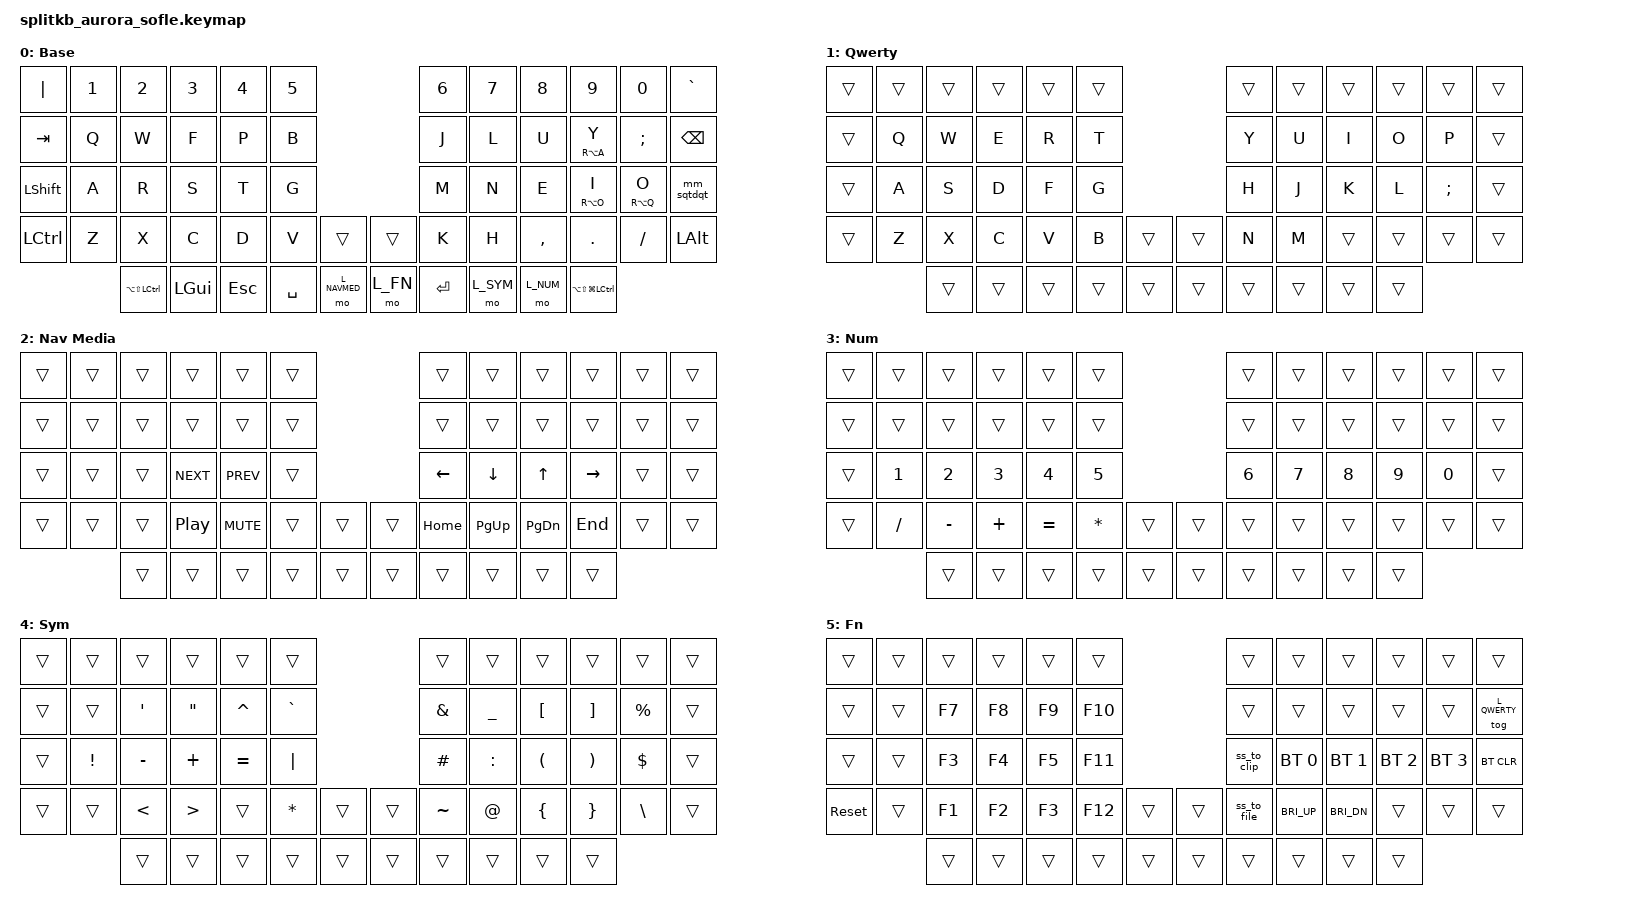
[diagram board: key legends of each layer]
// vim: ft=c
/*
 * Copyright (c) 2023 The ZMK Contributors
 *
 * SPDX-License-Identifier: MIT
 */

#include <behaviors.dtsi>
#include <dt-bindings/zmk/keys.h>
#include <dt-bindings/zmk/bt.h>
#include <dt-bindings/zmk/ext_power.h>

// define layer names
#define L_BASE 0
#define L_QWERTY 1
#define L_NAVMED 2
#define L_NUM 3
#define L_SYM 4
#define L_FN 5

// key aliases
#define ___ &trans            // transparent, inherit key from lower layer
#define MEH LA(LS(LCTRL))     // meh modifier combo: ctrl+alt+shift
#define HYP LA(LS(LG(LCTRL))) // hyper modifier combo: ctrl+alt+command+shift

/*                                             60 KEY MATRIX / LAYOUT MAPPING

  ╭────────────────────────────┬────────────────────────────╮ ╭─────────────────────────────┬─────────────────────────────╮
  │  0   1   2   3   4   5     │      6   7   8   9  10  11 │ │ LN5 LN4 LN3 LN2 LN1 LN0     │     RN0 RN1 RN2 RN3 RN4 RN5 │
  │ 12  13  14  15  16  17     │     18  19  20  21  22  23 │ │ LT5 LT4 LT3 LT2 LT1 LT0     │     RT0 RT1 RT2 RT3 RT4 RT5 │
  │ 24  25  26  27  28  29     │     30  31  32  33  34  35 │ │ LM5 LM4 LM3 LM2 LM1 LM0     │     RM0 RM1 RM2 RM3 RM4 RM5 │
  │ 36  37  38  39  40  41  42 │ 43  44  45  46  47  48  49 │ │ LB5 LB4 LB3 LB2 LB1 LB0 LEC │ REC RB0 RB1 RB2 RB3 RB4 RB5 │
  ╰───────╮ 50  51  52  53  54 │ 55  56  57  58  59 ╭───────╯ ╰───────╮ LH4 LH3 LH2 LH1 LH0 │ RH0 RH1 RH2 RH3 RH4 ╭───────╯
          ╰────────────────────┴────────────────────╯                 ╰─────────────────────┴─────────────────────╯
*/

/ {
  macros {
    ss_to_file: selection_screenshot_to_file {
      compatible = "zmk,behavior-macro";
      label = "capture screenshot to file";
      #binding-cells = <0>;
      bindings =
        <&macro_press &kp LGUI &kp LSHIFT>,
        <&macro_tap &kp N4>,
        <&macro_release &kp LGUI &kp LSHIFT>;
    };
    ss_to_clip: selection_screenshot_to_clipboard {
      compatible = "zmk,behavior-macro";
      label = "capture screenshot to clipboard";
      #binding-cells = <0>;
      bindings =
        <&macro_press &kp LGUI &kp LCTRL &kp LSHIFT>,
        <&macro_tap &kp N4>,
        <&macro_release &kp LGUI &kp LCTRL &kp LSHIFT>;
    };
  };

  behaviors {
    mm_sqtdqt: dot_colin_mod_morph {
      compatible = "zmk,behavior-mod-morph";
      label = "double quote, single quote when shifted";
      #binding-cells = <0>;
      bindings = <&kp DQT>, <&kp SQT>;
      mods = <(MOD_LSFT|MOD_RSFT)>;
    };

    gqt: global-quick-tap {
      compatible = "zmk,behavior-hold-tap";
      label = "global quick tap";
      #binding-cells = <2>;
      flavor = "tap-preferred";
      tapping-term-ms = <200>;
      quick-tap-ms = <125>;
      global-quick-tap;
      bindings = <&kp>, <&kp>;
    };
  };

  keymap {
    compatible = "zmk,keymap";

    base_layer {
      label = "Base";
      bindings = <
        //╭─────────────┬─────────────┬─────────────┬─────────────┬─────────────┬─────────────╮                                 ╭─────────────┬─────────────┬─────────────┬─────────────┬─────────────┬─────────────╮
            &kp PIPE      &kp N1        &kp N2        &kp N3        &kp N4        &kp N5                                          &kp N6        &kp N7        &kp N8        &kp N9        &kp N0        &kp GRAVE
        //├─────────────┼─────────────┼─────────────┼─────────────┼─────────────┤─────────────┤                                 ├─────────────┼─────────────┼─────────────┼─────────────┤─────────────┼─────────────┤
            &kp TAB       &kp Q         &kp W         &kp F         &kp P         &kp B                                           &kp J         &kp L         &kp U         &gqt RA(A) Y  &kp SEMI      &kp BSPC
        //├─────────────┼─────────────┼─────────────┼─────────────┼─────────────┤─────────────┤                                 ├─────────────┼─────────────┼─────────────┼─────────────┤─────────────┼─────────────┤
            &kp LSHIFT    &kp A         &kp R         &kp S         &kp T         &kp G                                           &kp M         &kp N         &kp E         &gqt RA(O) I  &gqt RA(Q) O  &mm_sqtdqt
        //├─────────────┼─────────────┼─────────────┼─────────────┼─────────────┤─────────────┤─────────────╮     ╭─────────────├─────────────┼─────────────┼─────────────┼─────────────┤─────────────┼─────────────┤
            &kp LCTRL     &kp Z         &kp X         &kp C         &kp D         &kp V         ___                 ___           &kp K         &kp H         &kp COMMA     &kp DOT       &kp FSLH      &kp LALT
        //╰─────────────┴─────────────┼─────────────┼─────────────┼─────────────┤─────────────┼─────────────┤     ├─────────────┼─────────────┼─────────────┼─────────────┼─────────────┼─────────────┼─────────────╯
                                        &kp MEH       &kp LGUI      &kp ESC       &kp SPACE     &mo L_NAVMED        &mo L_FN      &kp RET       &mo L_SYM     &mo L_NUM     &kp HYP
        //                            ╰─────────────┴─────────────┴─────────────┴─────────────┴─────────────╯     ╰─────────────┴─────────────┴─────────────┴─────────────┴─────────────╯
      >;
    };

    qwerty_layer {
      label = "Qwerty";
      bindings = <
        //╭─────────────┬─────────────┬─────────────┬─────────────┬─────────────┬─────────────╮                                 ╭─────────────┬─────────────┬─────────────┬─────────────┬─────────────┬─────────────╮
            ___           ___           ___           ___           ___           ___                                             ___           ___           ___           ___           ___           ___
        //├─────────────┼─────────────┼─────────────┼─────────────┼─────────────┤─────────────┤                                 ├─────────────┼─────────────┼─────────────┼─────────────┤─────────────┼─────────────┤
            ___           &kp Q         &kp W         &kp E         &kp R         &kp T                                           &kp Y         &kp U         &kp I         &kp O         &kp P         ___ 
        //├─────────────┼─────────────┼─────────────┼─────────────┼─────────────┤─────────────┤                                 ├─────────────┼─────────────┼─────────────┼─────────────┤─────────────┼─────────────┤
            ___           &kp A         &kp S         &kp D         &kp F         &kp G                                           &kp H         &kp J         &kp K         &kp L         &kp SEMI      ___
        //├─────────────┼─────────────┼─────────────┼─────────────┼─────────────┤─────────────┤─────────────╮     ╭─────────────├─────────────┼─────────────┼─────────────┼─────────────┤─────────────┼─────────────┤
            ___           &kp Z         &kp X         &kp C         &kp V         &kp B         ___                 ___           &kp N         &kp M         ___           ___           ___           ___
        //╰─────────────┴─────────────┼─────────────┼─────────────┼─────────────┤─────────────┼─────────────┤     ├─────────────┼─────────────┼─────────────┼─────────────┼─────────────┼─────────────┼─────────────╯
                                        ___           ___           ___           ___           ___                 ___           ___           ___           ___           ___
        //                            ╰─────────────┴─────────────┴─────────────┴─────────────┴─────────────╯     ╰─────────────┴─────────────┴─────────────┴─────────────┴─────────────╯
      >;
    };

    nav_media_layer {
      label = "Nav Media";
      bindings = <
        //╭─────────────┬─────────────┬─────────────┬─────────────┬─────────────┬─────────────╮                                 ╭─────────────┬─────────────┬─────────────┬─────────────┬─────────────┬─────────────╮
            ___           ___           ___           ___           ___           ___                                             ___           ___           ___           ___           ___           ___
        //├─────────────┼─────────────┼─────────────┼─────────────┼─────────────┤─────────────┤                                 ├─────────────┼─────────────┼─────────────┼─────────────┤─────────────┼─────────────┤
            ___           ___           ___           ___           ___           ___                                             ___           ___           ___           ___           ___           ___ 
        //├─────────────┼─────────────┼─────────────┼─────────────┼─────────────┤─────────────┤                                 ├─────────────┼─────────────┼─────────────┼─────────────┤─────────────┼─────────────┤
            ___           ___           ___           &kp C_NEXT    &kp C_PREV    ___                                             &kp LEFT      &kp DOWN      &kp UP        &kp RIGHT     ___           ___ 
        //├─────────────┼─────────────┼─────────────┼─────────────┼─────────────┤─────────────┤─────────────╮     ╭─────────────├─────────────┼─────────────┼─────────────┼─────────────┤─────────────┼─────────────┤
            ___           ___           ___           &kp C_PP      &kp C_MUTE    ___           ___                 ___           &kp HOME      &kp PG_UP     &kp PG_DN     &kp END       ___           ___ 
        //╰─────────────┴─────────────┼─────────────┼─────────────┼─────────────┤─────────────┼─────────────┤     ├─────────────┼─────────────┼─────────────┼─────────────┼─────────────┼─────────────┼─────────────╯
                                        ___           ___           ___           ___           ___                 ___           ___           ___           ___           ___
        //                            ╰─────────────┴─────────────┴─────────────┴─────────────┴─────────────╯     ╰─────────────┴─────────────┴─────────────┴─────────────┴─────────────╯
      >;
    };

    num_layer {
      label = "Num";
      bindings = <
        //╭─────────────┬─────────────┬─────────────┬─────────────┬─────────────┬─────────────╮                                 ╭─────────────┬─────────────┬─────────────┬─────────────┬─────────────┬─────────────╮
            ___           ___           ___           ___           ___           ___                                             ___           ___           ___           ___           ___           ___
        //├─────────────┼─────────────┼─────────────┼─────────────┼─────────────┤─────────────┤                                 ├─────────────┼─────────────┼─────────────┼─────────────┤─────────────┼─────────────┤
            ___           ___           ___           ___           ___           ___                                             ___           ___           ___           ___           ___           ___ 
        //├─────────────┼─────────────┼─────────────┼─────────────┼─────────────┤─────────────┤                                 ├─────────────┼─────────────┼─────────────┼─────────────┤─────────────┼─────────────┤
            ___           &kp N1        &kp N2        &kp N3        &kp N4        &kp N5                                          &kp N6        &kp N7        &kp N8        &kp N9        &kp N0        ___ 
        //├─────────────┼─────────────┼─────────────┼─────────────┼─────────────┤─────────────┤─────────────╮     ╭─────────────├─────────────┼─────────────┼─────────────┼─────────────┤─────────────┼─────────────┤
            ___           &kp FSLH      &kp MINUS     &kp PLUS      &kp EQUAL     &kp STAR      ___                 ___           ___           ___           ___           ___           ___           ___ 
        //╰─────────────┴─────────────┼─────────────┼─────────────┼─────────────┤─────────────┼─────────────┤     ├─────────────┼─────────────┼─────────────┼─────────────┼─────────────┼─────────────┼─────────────╯
                                        ___           ___           ___           ___           ___                 ___           ___           ___           ___           ___
        //                            ╰─────────────┴─────────────┴─────────────┴─────────────┴─────────────╯     ╰─────────────┴─────────────┴─────────────┴─────────────┴─────────────╯
      >;
    };

    sym_layer {
      label = "Sym";
      bindings = <
        //╭─────────────┬─────────────┬─────────────┬─────────────┬─────────────┬─────────────╮                                 ╭─────────────┬─────────────┬─────────────┬─────────────┬─────────────┬─────────────╮
            ___           ___           ___           ___           ___           ___                                             ___           ___           ___           ___           ___           ___
        //├─────────────┼─────────────┼─────────────┼─────────────┼─────────────┤─────────────┤                                 ├─────────────┼─────────────┼─────────────┼─────────────┤─────────────┼─────────────┤
            ___           ___           &kp SQT       &kp DQT       &kp CARET     &kp GRAVE                                       &kp AMPS      &kp UNDER     &kp LBKT      &kp RBKT      &kp PRCNT     ___ 
        //├─────────────┼─────────────┼─────────────┼─────────────┼─────────────┤─────────────┤                                 ├─────────────┼─────────────┼─────────────┼─────────────┤─────────────┼─────────────┤
            ___           &kp EXCL      &kp MINUS     &kp PLUS      &kp EQUAL     &kp PIPE                                        &kp HASH      &kp COLON     &kp LPAR      &kp RPAR      &kp DLLR      ___ 
        //├─────────────┼─────────────┼─────────────┼─────────────┼─────────────┤─────────────┤─────────────╮     ╭─────────────├─────────────┼─────────────┼─────────────┼─────────────┤─────────────┼─────────────┤
            ___           ___           &kp LT        &kp GT        ___           &kp STAR      ___                 ___           &kp TILDE     &kp AT        &kp LBRC      &kp RBRC      &kp BSLH      ___ 
        //╰─────────────┴─────────────┼─────────────┼─────────────┼─────────────┤─────────────┼─────────────┤     ├─────────────┼─────────────┼─────────────┼─────────────┼─────────────┼─────────────┼─────────────╯
                                        ___           ___           ___           ___           ___                 ___           ___           ___           ___           ___
        //                            ╰─────────────┴─────────────┴─────────────┴─────────────┴─────────────╯     ╰─────────────┴─────────────┴─────────────┴─────────────┴─────────────╯
      >;
    };

    fn_layer {
      label = "Fn";
      bindings = <
        //╭─────────────┬─────────────┬─────────────┬─────────────┬─────────────┬─────────────╮                                 ╭─────────────┬─────────────┬─────────────┬─────────────┬─────────────┬─────────────╮
            ___           ___           ___           ___           ___           ___                                             ___           ___           ___           ___           ___           ___ 
        //├─────────────┼─────────────┼─────────────┼─────────────┼─────────────┤─────────────┤                                 ├─────────────┼─────────────┼─────────────┼─────────────┤─────────────┼─────────────┤
            ___           ___           &kp F7        &kp F8        &kp F9        &kp F10                                         ___           ___           ___           ___           ___           &tog L_QWERTY 
        //├─────────────┼─────────────┼─────────────┼─────────────┼─────────────┤─────────────┤                                 ├─────────────┼─────────────┼─────────────┼─────────────┤─────────────┼─────────────┤
            ___           ___           &kp F3        &kp F4        &kp F5        &kp F11                                         &ss_to_clip   &bt BT_SEL 0  &bt BT_SEL 1  &bt BT_SEL 2  &bt BT_SEL 3  &bt BT_CLR 
        //├─────────────┼─────────────┼─────────────┼─────────────┼─────────────┤─────────────┤─────────────╮     ╭─────────────├─────────────┼─────────────┼─────────────┼─────────────┤─────────────┼─────────────┤
            &sys_reset    ___           &kp F1        &kp F2        &kp F3        &kp F12       ___                 ___           &ss_to_file   &kp C_BRI_UP  &kp C_BRI_DN  ___           ___           ___ 
        //╰─────────────┴─────────────┼─────────────┼─────────────┼─────────────┤─────────────┼─────────────┤     ├─────────────┼─────────────┼─────────────┼─────────────┼─────────────┼─────────────┼─────────────╯
                                        ___           ___           ___           ___           ___                 ___           ___           ___           ___           ___
        //                            ╰─────────────┴─────────────┴─────────────┴─────────────┴─────────────╯     ╰─────────────┴─────────────┴─────────────┴─────────────┴─────────────╯
      >;
    };
  };
};
